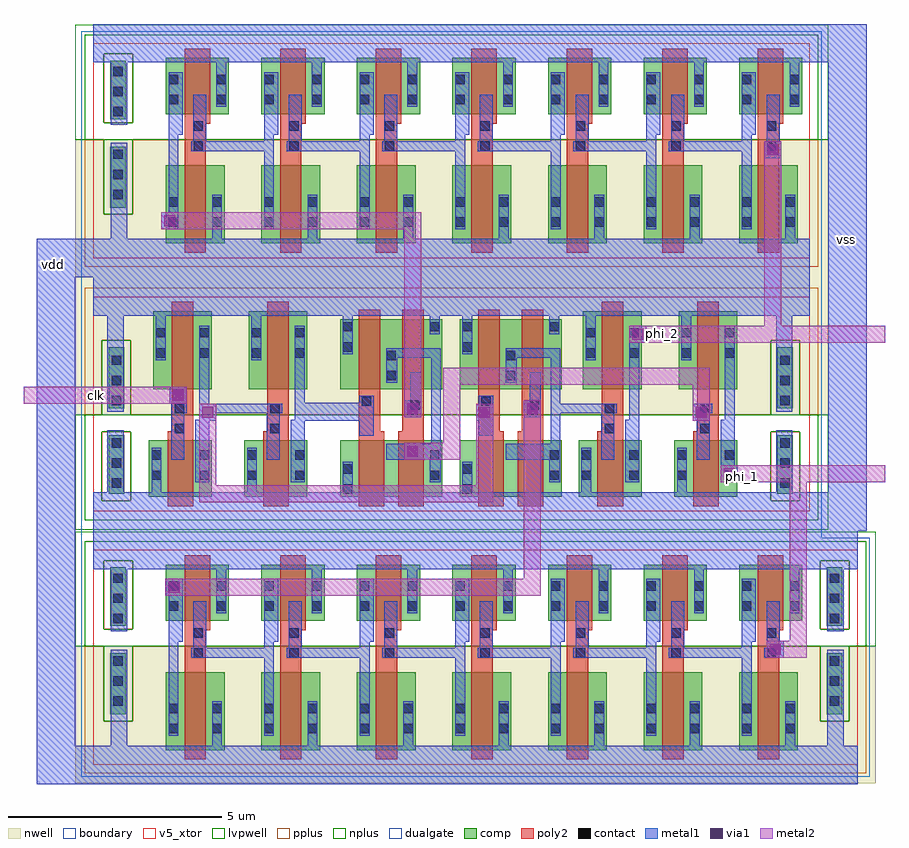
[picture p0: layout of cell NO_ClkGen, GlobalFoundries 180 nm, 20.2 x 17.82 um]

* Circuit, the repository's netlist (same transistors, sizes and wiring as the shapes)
* NGSPICE file created from NO_ClkGen.ext - technology: gf180mcuD

.subckt gf180mcu_fd_sc_mcu9t5v0__nand2_1 A1 A2 VDD VSS ZN VNW VPW
X0 ZN A2 VDD VNW pfet_05v0 ad=0.4277p pd=2.165u as=0.7238p ps=4.17u w=1.645u l=0.5u
X1 VDD A1 ZN VNW pfet_05v0 ad=0.7238p pd=4.17u as=0.4277p ps=2.165u w=1.645u l=0.5u
X2 ZN A1 a_245_69# VPW nfet_05v0 ad=0.5808p pd=3.52u as=0.2112p ps=1.64u w=1.32u l=0.6u
X3 a_245_69# A2 VSS VPW nfet_05v0 ad=0.2112p pd=1.64u as=0.5808p ps=3.52u w=1.32u l=0.6u
.ends

.subckt gf180mcu_fd_sc_mcu9t5v0__inv_1 I VDD VSS ZN VNW VPW
X0 ZN I VDD VNW pfet_05v0 ad=0.8052p pd=4.54u as=0.8052p ps=4.54u w=1.83u l=0.5u
X1 ZN I VSS VPW nfet_05v0 ad=0.5808p pd=3.52u as=0.5808p ps=3.52u w=1.32u l=0.6u
.ends

.subckt NO_ClkGen vdd vss clk phi_2 phi_1
Xgf180mcu_fd_sc_mcu9t5v0__nand2_1_0 gf180mcu_fd_sc_mcu9t5v0__inv_1_13/ZN gf180mcu_fd_sc_mcu9t5v0__inv_1_16/I
+ vdd vss gf180mcu_fd_sc_mcu9t5v0__inv_1_3/I vdd vss gf180mcu_fd_sc_mcu9t5v0__nand2_1
Xgf180mcu_fd_sc_mcu9t5v0__nand2_1_1 gf180mcu_fd_sc_mcu9t5v0__inv_1_5/ZN gf180mcu_fd_sc_mcu9t5v0__inv_1_16/ZN
+ vdd vss gf180mcu_fd_sc_mcu9t5v0__inv_1_11/I vdd vss gf180mcu_fd_sc_mcu9t5v0__nand2_1
Xgf180mcu_fd_sc_mcu9t5v0__inv_1_0 gf180mcu_fd_sc_mcu9t5v0__inv_1_0/I vdd vss gf180mcu_fd_sc_mcu9t5v0__inv_1_1/I
+ vdd vss gf180mcu_fd_sc_mcu9t5v0__inv_1
Xgf180mcu_fd_sc_mcu9t5v0__inv_1_2 phi_2 vdd vss gf180mcu_fd_sc_mcu9t5v0__inv_1_0/I
+ vdd vss gf180mcu_fd_sc_mcu9t5v0__inv_1
Xgf180mcu_fd_sc_mcu9t5v0__inv_1_1 gf180mcu_fd_sc_mcu9t5v0__inv_1_1/I vdd vss gf180mcu_fd_sc_mcu9t5v0__inv_1_7/I
+ vdd vss gf180mcu_fd_sc_mcu9t5v0__inv_1
Xgf180mcu_fd_sc_mcu9t5v0__inv_1_3 gf180mcu_fd_sc_mcu9t5v0__inv_1_3/I vdd vss phi_2
+ vdd vss gf180mcu_fd_sc_mcu9t5v0__inv_1
Xgf180mcu_fd_sc_mcu9t5v0__inv_1_4 gf180mcu_fd_sc_mcu9t5v0__inv_1_4/I vdd vss gf180mcu_fd_sc_mcu9t5v0__inv_1_5/I
+ vdd vss gf180mcu_fd_sc_mcu9t5v0__inv_1
Xgf180mcu_fd_sc_mcu9t5v0__inv_1_5 gf180mcu_fd_sc_mcu9t5v0__inv_1_5/I vdd vss gf180mcu_fd_sc_mcu9t5v0__inv_1_5/ZN
+ vdd vss gf180mcu_fd_sc_mcu9t5v0__inv_1
Xgf180mcu_fd_sc_mcu9t5v0__inv_1_6 gf180mcu_fd_sc_mcu9t5v0__inv_1_6/I vdd vss gf180mcu_fd_sc_mcu9t5v0__inv_1_4/I
+ vdd vss gf180mcu_fd_sc_mcu9t5v0__inv_1
Xgf180mcu_fd_sc_mcu9t5v0__inv_1_7 gf180mcu_fd_sc_mcu9t5v0__inv_1_7/I vdd vss gf180mcu_fd_sc_mcu9t5v0__inv_1_6/I
+ vdd vss gf180mcu_fd_sc_mcu9t5v0__inv_1
Xgf180mcu_fd_sc_mcu9t5v0__inv_1_10 phi_1 vdd vss gf180mcu_fd_sc_mcu9t5v0__inv_1_8/I
+ vdd vss gf180mcu_fd_sc_mcu9t5v0__inv_1
Xgf180mcu_fd_sc_mcu9t5v0__inv_1_8 gf180mcu_fd_sc_mcu9t5v0__inv_1_8/I vdd vss gf180mcu_fd_sc_mcu9t5v0__inv_1_9/I
+ vdd vss gf180mcu_fd_sc_mcu9t5v0__inv_1
Xgf180mcu_fd_sc_mcu9t5v0__inv_1_11 gf180mcu_fd_sc_mcu9t5v0__inv_1_11/I vdd vss phi_1
+ vdd vss gf180mcu_fd_sc_mcu9t5v0__inv_1
Xgf180mcu_fd_sc_mcu9t5v0__inv_1_9 gf180mcu_fd_sc_mcu9t5v0__inv_1_9/I vdd vss gf180mcu_fd_sc_mcu9t5v0__inv_1_9/ZN
+ vdd vss gf180mcu_fd_sc_mcu9t5v0__inv_1
Xgf180mcu_fd_sc_mcu9t5v0__inv_1_12 gf180mcu_fd_sc_mcu9t5v0__inv_1_12/I vdd vss gf180mcu_fd_sc_mcu9t5v0__inv_1_13/I
+ vdd vss gf180mcu_fd_sc_mcu9t5v0__inv_1
Xgf180mcu_fd_sc_mcu9t5v0__inv_1_13 gf180mcu_fd_sc_mcu9t5v0__inv_1_13/I vdd vss gf180mcu_fd_sc_mcu9t5v0__inv_1_13/ZN
+ vdd vss gf180mcu_fd_sc_mcu9t5v0__inv_1
Xgf180mcu_fd_sc_mcu9t5v0__inv_1_14 gf180mcu_fd_sc_mcu9t5v0__inv_1_14/I vdd vss gf180mcu_fd_sc_mcu9t5v0__inv_1_12/I
+ vdd vss gf180mcu_fd_sc_mcu9t5v0__inv_1
Xgf180mcu_fd_sc_mcu9t5v0__inv_1_15 gf180mcu_fd_sc_mcu9t5v0__inv_1_9/ZN vdd vss gf180mcu_fd_sc_mcu9t5v0__inv_1_14/I
+ vdd vss gf180mcu_fd_sc_mcu9t5v0__inv_1
Xgf180mcu_fd_sc_mcu9t5v0__inv_1_16 gf180mcu_fd_sc_mcu9t5v0__inv_1_16/I vdd vss gf180mcu_fd_sc_mcu9t5v0__inv_1_16/ZN
+ vdd vss gf180mcu_fd_sc_mcu9t5v0__inv_1
Xgf180mcu_fd_sc_mcu9t5v0__inv_1_17 clk vdd vss gf180mcu_fd_sc_mcu9t5v0__inv_1_16/I
+ vdd vss gf180mcu_fd_sc_mcu9t5v0__inv_1
.ends

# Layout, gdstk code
from math import pi, radians
import gdstk
lib = gdstk.Library(unit=1e-6, precision=5e-09)
def R(c, l, rs):  # rectangles x0, y0, x1, y1
    for r in rs: c.add(gdstk.rectangle(r[:2], r[2:], *l))
def A(c, l, x, y, w, h, nx, ny, dx, dy):  # array of equal rectangles
    R(c, l, [(x+i*dx, y+j*dy, x+i*dx+w, y+j*dy+h) for i in range(nx) for j in range(ny)])
def P(c, l, *ps):  # polygons
    for p in ps: c.add(gdstk.Polygon(p, *l))
boundary = (0, 0)
nwell = (21, 0)
comp = (22, 0)
poly2 = (30, 0)
pplus = (31, 0)
nplus = (32, 0)
contact = (33, 0)
metal1 = (34, 0)
via1 = (35, 0)
metal2 = (36, 0)
dualgate = (55, 0)
v5_xtor = (112, 1)
lvpwell = (204, 0)

gf180mcu_fd_sc_mcu9t5v0_ = lib.new_cell('gf180mcu_fd_sc_mcu9t5v0__inv_1')
R(gf180mcu_fd_sc_mcu9t5v0_, boundary, [(0,0,2.24,5.04)])
R(gf180mcu_fd_sc_mcu9t5v0_, nwell, [(-0.43,2.265,2.67,5.47)])
R(gf180mcu_fd_sc_mcu9t5v0_, comp, [(0.18,0.345,1.66,1.665), (0.28,2.865,1.66,4.695)])
P(gf180mcu_fd_sc_mcu9t5v0_, poly2, [(0.62,0.125),(0.62,1.885),(0.72,1.885),(0.72,4.915),(1.22,4.915),(1.22,0.125)])
R(gf180mcu_fd_sc_mcu9t5v0_, pplus, [(-0.2,2.265,2.44,5.24)])
R(gf180mcu_fd_sc_mcu9t5v0_, nplus, [(-0.2,-0.2,2.44,2.265)])
R(gf180mcu_fd_sc_mcu9t5v0_, contact, [(0.25,0.74,0.47,0.96), (1.37,0.74,1.59,0.96), (0.25,1.21,0.47,1.43), (1.37,1.21,1.59,1.43), (0.79,1.835,1.01,2.055), (0.79,2.305,1.01,2.525), (0.35,3.61,0.57,3.83), (1.37,3.61,1.59,3.83), (0.35,4.08,0.57,4.3), (1.37,4.08,1.59,4.3)])
P(gf180mcu_fd_sc_mcu9t5v0_, metal1, [(0.71,1.21),(0.71,2.53),(1.07,2.53),(1.07,2.3),(1.015,2.3),(1.015,1.21)],
  [(1.27,0.68),(1.27,2.15),(1.365,2.15),(1.365,4.36),(1.595,4.36),(1.595,0.68)],
  [(0,-0.45),(0,0.45),(0.245,0.45),(0.245,1.49),(0.475,1.49),(0.475,0.45),(2.24,0.45),(2.24,-0.45)],
  [(0.345,3.55),(0.345,4.59),(0,4.59),(0,5.49),(2.24,5.49),(2.24,4.59),(0.575,4.59),(0.575,3.55)])
R(gf180mcu_fd_sc_mcu9t5v0_, dualgate, [(-0.28,-0.28,2.52,5.32)])
R(gf180mcu_fd_sc_mcu9t5v0_, v5_xtor, [(0,0,2.24,5.04)])
R(gf180mcu_fd_sc_mcu9t5v0_, lvpwell, [(-0.43,-0.43,2.67,2.265)])
gf180mcu_fd_sc_mcu9t5v0_.add(gdstk.Label('I', (0.84,1.96), layer=34, texttype=10))
gf180mcu_fd_sc_mcu9t5v0_.add(gdstk.Label('VDD', (1.12,5.49), layer=34, texttype=10))
gf180mcu_fd_sc_mcu9t5v0_.add(gdstk.Label('VSS', (1.12,-0.45), layer=34, texttype=10))
gf180mcu_fd_sc_mcu9t5v0_.add(gdstk.Label('ZN', (1.4,1.96), layer=34, texttype=10))
gf180mcu_fd_sc_mcu9t5v0_.add(gdstk.Label('& Vendor GLOBALFOUNDRIES', (0,2), layer=63, texttype=63))
gf180mcu_fd_sc_mcu9t5v0_.add(gdstk.Label('& Product GF018hv5v_green_sc9', (0,1.5), layer=63, texttype=63))
gf180mcu_fd_sc_mcu9t5v0_.add(gdstk.Label('& Version 2015q2v2', (0,1), layer=63, texttype=63))
gf180mcu_fd_sc_mcu9t5v0_.add(gdstk.Label('& Metric 1.00', (0,0.5), layer=63, texttype=63))
gf180mcu_fd_sc_mcu9t5v0_.add(gdstk.Label('VNW', (0.345,3.92), layer=21, texttype=10))
gf180mcu_fd_sc_mcu9t5v0_.add(gdstk.Label('VPW', (0.34,-0.085), layer=204, texttype=10))

c_gf180mcu_fd_sc_mcu9t5v0_ = lib.new_cell('gf180mcu_fd_sc_mcu9t5v0__nand2_1')
R(c_gf180mcu_fd_sc_mcu9t5v0_, boundary, [(0,0,2.8,5.04)])
R(c_gf180mcu_fd_sc_mcu9t5v0_, nwell, [(-0.43,2.265,3.23,5.47)])
R(c_gf180mcu_fd_sc_mcu9t5v0_, comp, [(0.185,0.345,2.585,1.665), (0.185,2.865,2.585,4.51)])
P(c_gf180mcu_fd_sc_mcu9t5v0_, poly2, [(0.625,0.125),(0.625,4.73),(1.125,4.73),(1.125,1.885),(1.225,1.885),(1.225,0.125)],
  [(1.545,0.125),(1.545,1.885),(1.645,1.885),(1.645,4.73),(2.145,4.73),(2.145,0.125)])
R(c_gf180mcu_fd_sc_mcu9t5v0_, pplus, [(-0.2,2.265,3,5.24)])
R(c_gf180mcu_fd_sc_mcu9t5v0_, nplus, [(-0.2,-0.2,3,2.265)])
R(c_gf180mcu_fd_sc_mcu9t5v0_, contact, [(0.255,0.415,0.475,0.635), (2.295,0.74,2.515,0.96), (0.255,0.885,0.475,1.105), (2.295,1.21,2.515,1.43), (1.835,2.39,2.055,2.61), (0.695,2.475,0.915,2.695), (1.275,3.08,1.495,3.3), (1.275,3.55,1.495,3.77), (0.255,3.75,0.475,3.97), (0.255,4.22,0.475,4.44), (2.295,4.22,2.515,4.44)])
R(c_gf180mcu_fd_sc_mcu9t5v0_, metal1, [(0.635,1.77,0.975,2.71), (1.83,2.33,2.09,3.27)])
P(c_gf180mcu_fd_sc_mcu9t5v0_, metal1, [(2.29,0.68),(2.29,1.21),(1.27,1.21),(1.27,1.59),(2.32,1.59),(2.32,3.6),(1.53,3.6),(1.53,3.02),(1.27,3.02),(1.27,3.83),(2.55,3.83),(2.55,0.68)],
  [(0,-0.45),(0,0.45),(0.25,0.45),(0.25,1.165),(0.48,1.165),(0.48,0.45),(2.8,0.45),(2.8,-0.45)],
  [(0.25,3.69),(0.25,4.59),(0,4.59),(0,5.49),(2.8,5.49),(2.8,4.59),(2.52,4.59),(2.52,4.16),(2.29,4.16),(2.29,4.59),(0.48,4.59),(0.48,3.69)])
R(c_gf180mcu_fd_sc_mcu9t5v0_, dualgate, [(-0.28,-0.28,3.08,5.32)])
R(c_gf180mcu_fd_sc_mcu9t5v0_, v5_xtor, [(0,0,2.8,5.04)])
R(c_gf180mcu_fd_sc_mcu9t5v0_, lvpwell, [(-0.43,-0.43,3.23,2.265)])
c_gf180mcu_fd_sc_mcu9t5v0_.add(gdstk.Label('A1', (1.96,2.52), layer=34, texttype=10))
c_gf180mcu_fd_sc_mcu9t5v0_.add(gdstk.Label('A2', (0.84,1.96), layer=34, texttype=10))
c_gf180mcu_fd_sc_mcu9t5v0_.add(gdstk.Label('VDD', (1.4,5.49), layer=34, texttype=10))
c_gf180mcu_fd_sc_mcu9t5v0_.add(gdstk.Label('VSS', (1.4,-0.45), layer=34, texttype=10))
c_gf180mcu_fd_sc_mcu9t5v0_.add(gdstk.Label('ZN', (1.96,1.4), layer=34, texttype=10))
c_gf180mcu_fd_sc_mcu9t5v0_.add(gdstk.Label('& Vendor GLOBALFOUNDRIES', (0,2), layer=63, texttype=63))
c_gf180mcu_fd_sc_mcu9t5v0_.add(gdstk.Label('& Product GF018hv5v_green_sc9', (0,1.5), layer=63, texttype=63))
c_gf180mcu_fd_sc_mcu9t5v0_.add(gdstk.Label('& Version 2015q2v2', (0,1), layer=63, texttype=63))
c_gf180mcu_fd_sc_mcu9t5v0_.add(gdstk.Label('& Metric 1.00', (0,0.5), layer=63, texttype=63))
c_gf180mcu_fd_sc_mcu9t5v0_.add(gdstk.Label('VNW', (0.345,3.92), layer=21, texttype=10))
c_gf180mcu_fd_sc_mcu9t5v0_.add(gdstk.Label('VPW', (0.34,-0.085), layer=204, texttype=10))

c_gf180mcu_fd_sc_mcu9t5v0__ = lib.new_cell('gf180mcu_fd_sc_mcu9t5v0__filltie')
R(c_gf180mcu_fd_sc_mcu9t5v0__, boundary, [(0,0,1.12,5.04)])
R(c_gf180mcu_fd_sc_mcu9t5v0__, nwell, [(-0.43,2.265,1.55,5.47)])
R(c_gf180mcu_fd_sc_mcu9t5v0__, comp, [(0.36,0.41,0.72,1.785), (0.36,2.425,0.72,3.855)])
R(c_gf180mcu_fd_sc_mcu9t5v0__, pplus, [(0.2,0.25,0.88,1.865)])
P(c_gf180mcu_fd_sc_mcu9t5v0__, pplus, [(-0.2,2.265),(-0.2,5.24),(1.32,5.24),(1.32,2.265),(0.88,2.265),(0.88,4.015),(0.2,4.015),(0.2,2.265)])
P(c_gf180mcu_fd_sc_mcu9t5v0__, nplus, [(-0.2,-0.2),(-0.2,2.265),(0.2,2.265),(0.2,4.015),(0.88,4.015),(0.88,1.865),(0.2,1.865),(0.2,0.25),(0.88,0.25),(0.88,4.015),(0.88,2.265),(1.32,2.265),(1.32,-0.2)])
A(c_gf180mcu_fd_sc_mcu9t5v0__, contact, 0.43, 0.555, 0.22, 0.22, 1, 3, 0, 0.47)
A(c_gf180mcu_fd_sc_mcu9t5v0__, contact, 0.43, 2.495, 0.22, 0.22, 1, 3, 0, 0.47)
P(c_gf180mcu_fd_sc_mcu9t5v0__, metal1, [(0,-0.45),(0,0.45),(0.33,0.45),(0.33,1.91),(0.71,1.91),(0.71,0.45),(1.12,0.45),(1.12,-0.45)],
  [(0.33,2.34),(0.33,4.59),(0,4.59),(0,5.49),(1.12,5.49),(1.12,4.59),(0.71,4.59),(0.71,2.34)])
R(c_gf180mcu_fd_sc_mcu9t5v0__, dualgate, [(-0.28,-0.28,1.4,5.32)])
R(c_gf180mcu_fd_sc_mcu9t5v0__, v5_xtor, [(0,0,1.12,5.04)])
R(c_gf180mcu_fd_sc_mcu9t5v0__, lvpwell, [(-0.43,-0.43,1.55,2.265)])
c_gf180mcu_fd_sc_mcu9t5v0__.add(gdstk.Label('VSS', (0.56,-0.45), layer=34, texttype=10))
c_gf180mcu_fd_sc_mcu9t5v0__.add(gdstk.Label('VDD', (0.56,5.49), layer=34, texttype=10))
c_gf180mcu_fd_sc_mcu9t5v0__.add(gdstk.Label('& Vendor GLOBALFOUNDRIES', (0,2), layer=63, texttype=63))
c_gf180mcu_fd_sc_mcu9t5v0__.add(gdstk.Label('& Product GF018hv5v_green_sc9', (0,1.5), layer=63, texttype=63))
c_gf180mcu_fd_sc_mcu9t5v0__.add(gdstk.Label('& Version 2015q2v2', (0,1), layer=63, texttype=63))
c_gf180mcu_fd_sc_mcu9t5v0__.add(gdstk.Label('& Metric 1.00', (0,0.5), layer=63, texttype=63))

via_dev = lib.new_cell('via_dev')
R(via_dev, metal1, [(0,0,0.4,0.4)])
R(via_dev, via1, [(0.07,0.07,0.33,0.33)])
R(via_dev, metal2, [(0,0,0.4,0.4)])

no_clkgen = lib.new_cell('NO_ClkGen')
R(no_clkgen, nwell, [(-10.83,3.335,6.83,3.375)])
A(no_clkgen, metal1, -8.11, -5.565, 1.945, 0.23, 6, 2, 2.24, 11.88)
R(no_clkgen, metal1, [(-5.675,-0.005,-4.165,0.415), (-7.915,0.165,-5.97,0.395), (0.32,0.165,1.87,0.395)])
P(no_clkgen, metal1, [(6.4,-2.585),(6.4,-1.685),(6.83,-1.685),(6.83,8.395),(6.4,8.395),(6.4,9.295),(7.73,9.295),(7.73,-2.585)],
  [(-11.73,-8.525),(-11.73,4.255),(-10.4,4.255),(-10.4,3.355),(-10.83,3.355),(-10.83,-7.625),(-10.4,-7.625),(-10.4,-8.525)])
R(no_clkgen, metal2, [(-12.03,0.395,-8.21,0.795)])
P(no_clkgen, metal2, [(-7.915,-1.92),(-7.915,-0.005),(-7.515,-0.005),(-7.515,-1.52),(-1.425,-1.52),(-1.425,-0.005),(-1.025,-0.005),(-1.025,-1.92)],
  [(2.565,1.825),(2.565,2.225),(5.33,2.225),(5.33,6.32),(5.73,6.32),(5.73,2.225),(8.165,2.225),(8.165,1.825)],
  [(-8.31,-4.115),(-8.31,-3.715),(-0.31,-3.715),(-0.31,0.475),(0.09,0.475),(0.09,-4.115)],
  [(-3.11,0.23),(-3.11,4.485),(-8.405,4.485),(-8.405,4.885),(-2.71,4.885),(-2.71,0.23)],
  [(-2.71,-0.925),(-2.71,-0.525),(-2.2,-0.525),(-2.2,1.235),(4.055,1.235),(4.055,0.105),(3.655,0.105),(3.655,0.835),(-1.8,0.835),(-1.8,-0.925)],
  [(5.385,-5.565),(5.385,-5.165),(5.93,-5.165),(5.93,-1.455),(4.71,-1.455),(4.71,-1.055),(8.165,-1.055),(8.165,-1.455),(6.33,-1.455),(6.33,-5.565)])
R(no_clkgen, dualgate, [(-10.68,-2.755,6.68,-2.415), (-10.68,3.185,6.68,3.525)])
no_clkgen.add(gdstk.Reference(gf180mcu_fd_sc_mcu9t5v0_, (-9.28,-2.135)))
no_clkgen.add(gdstk.Reference(c_gf180mcu_fd_sc_mcu9t5v0_, (-4.8,-2.135)))
no_clkgen.add(gdstk.Reference(c_gf180mcu_fd_sc_mcu9t5v0_, (-2,-2.135)))
no_clkgen.add(gdstk.Reference(gf180mcu_fd_sc_mcu9t5v0_, (-7.04,-2.135)))
no_clkgen.add(gdstk.Reference(c_gf180mcu_fd_sc_mcu9t5v0__, (-10.4,-2.135)))
no_clkgen.add(gdstk.Reference(via_dev, (-8.61,0.395)))
no_clkgen.add(gdstk.Reference(gf180mcu_fd_sc_mcu9t5v0_, (-0.32,-3.035), rotation=pi))
no_clkgen.add(gdstk.Reference(gf180mcu_fd_sc_mcu9t5v0_, (-2.56,-3.035), rotation=pi))
no_clkgen.add(gdstk.Reference(gf180mcu_fd_sc_mcu9t5v0_, (-7.04,-3.035), rotation=pi))
no_clkgen.add(gdstk.Reference(gf180mcu_fd_sc_mcu9t5v0_, (-4.8,-3.035), rotation=pi))
no_clkgen.add(gdstk.Reference(gf180mcu_fd_sc_mcu9t5v0_, (3.04,-2.135)))
no_clkgen.add(gdstk.Reference(gf180mcu_fd_sc_mcu9t5v0_, (6.4,-3.035), rotation=pi))
no_clkgen.add(gdstk.Reference(gf180mcu_fd_sc_mcu9t5v0_, (1.92,-3.035), rotation=pi))
no_clkgen.add(gdstk.Reference(gf180mcu_fd_sc_mcu9t5v0_, (4.16,-3.035), rotation=pi))
no_clkgen.add(gdstk.Reference(gf180mcu_fd_sc_mcu9t5v0_, (-0.32,8.845), rotation=pi))
no_clkgen.add(gdstk.Reference(gf180mcu_fd_sc_mcu9t5v0_, (-2.56,8.845), rotation=pi))
no_clkgen.add(gdstk.Reference(gf180mcu_fd_sc_mcu9t5v0_, (-7.04,8.845), rotation=pi))
no_clkgen.add(gdstk.Reference(gf180mcu_fd_sc_mcu9t5v0_, (-4.8,8.845), rotation=pi))
no_clkgen.add(gdstk.Reference(gf180mcu_fd_sc_mcu9t5v0_, (0.8,-2.135)))
no_clkgen.add(gdstk.Reference(gf180mcu_fd_sc_mcu9t5v0_, (6.4,8.845), rotation=pi))
no_clkgen.add(gdstk.Reference(gf180mcu_fd_sc_mcu9t5v0_, (1.92,8.845), rotation=pi))
no_clkgen.add(gdstk.Reference(gf180mcu_fd_sc_mcu9t5v0_, (4.16,8.845), rotation=pi))
no_clkgen.add(gdstk.Reference(c_gf180mcu_fd_sc_mcu9t5v0__, (5.28,-2.135)))
no_clkgen.add(gdstk.Reference(c_gf180mcu_fd_sc_mcu9t5v0__, (-9.28,8.845), rotation=pi))
no_clkgen.add(gdstk.Reference(via_dev, (4.31,-1.455)))
no_clkgen.add(gdstk.Reference(c_gf180mcu_fd_sc_mcu9t5v0__, (-9.28,-3.035), rotation=pi))
no_clkgen.add(gdstk.Reference(via_dev, (2.165,1.825)))
no_clkgen.add(gdstk.Reference(via_dev, (5.33,6.145)))
no_clkgen.add(gdstk.Reference(via_dev, (-8.805,4.485)))
no_clkgen.add(gdstk.Reference(via_dev, (-8.71,-4.115)))
no_clkgen.add(gdstk.Reference(via_dev, (5.385,-5.565)))
no_clkgen.add(gdstk.Reference(via_dev, (-7.915,-0.005)))
no_clkgen.add(gdstk.Reference(via_dev, (-1.425,-0.005)))
no_clkgen.add(gdstk.Reference(via_dev, (-0.31,0.075)))
no_clkgen.add(gdstk.Reference(via_dev, (-3.11,0.075)))
no_clkgen.add(gdstk.Reference(via_dev, (3.655,-0.005)))
no_clkgen.add(gdstk.Reference(via_dev, (-3.11,-0.925)))
no_clkgen.add(gdstk.Reference(c_gf180mcu_fd_sc_mcu9t5v0__, (7.52,-3.035), rotation=pi))
no_clkgen.add(gdstk.Label('vdd', (-11.335,3.655), layer=34, texttype=10))
no_clkgen.add(gdstk.Label('vss', (7.25,4.235), layer=34, texttype=10))
no_clkgen.add(gdstk.Label('clk', (-10.325,0.595), layer=36, texttype=10))
no_clkgen.add(gdstk.Label('phi_2', (2.955,2.04), layer=36, texttype=10))
no_clkgen.add(gdstk.Label('phi_1', (4.815,-1.305), layer=36, texttype=10))

lib.write_gds('NO_ClkGen.gds')
